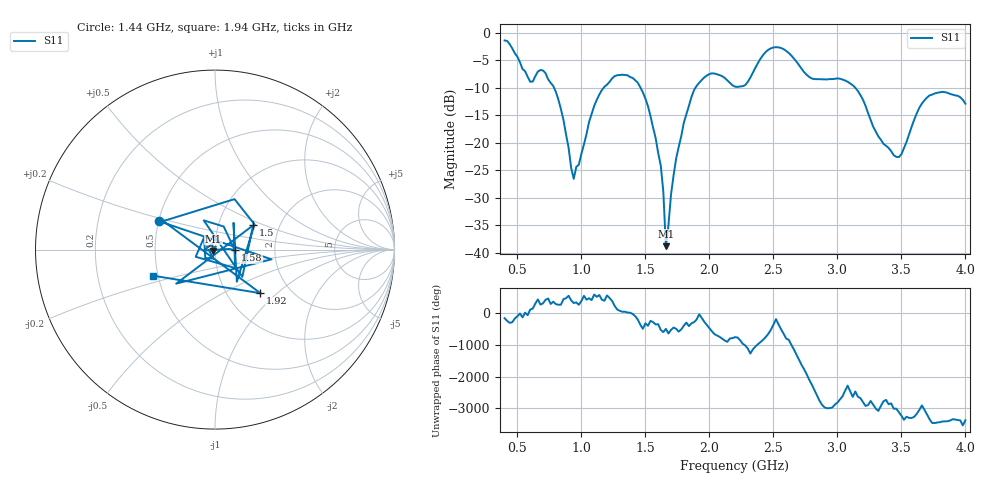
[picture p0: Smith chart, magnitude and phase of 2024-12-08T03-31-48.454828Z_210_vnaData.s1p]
!Created with skrf (http://scikit-rf.org).
# Hz S RI R 50.0
!freq ReS11 ImS11
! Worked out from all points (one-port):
!   181 points, 400 MHz to 4 GHz, reference 50 ohm
!   lowest |S11| = -38.8 dB at 1.66 GHz (marker M1), VSWR 1.02, Z = 49.1 - j0.686 ohm
!   |S11| at or under -10 dB: 786.5 MHz to 1.174 GHz (387.3 MHz wide, 39.5 % of centre); 1.462 GHz to 1.891 GHz (428.8 MHz wide, 25.6 % of centre); 3.14 GHz to end of sweep
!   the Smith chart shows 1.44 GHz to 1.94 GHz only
!   S11 on the Smith chart (normalised r, x): 1.44 GHz: 0.50, +0.18; 1.5 GHz: 1.47, +0.42; 1.58 GHz: 1.25, -0.01; 1.92 GHz: 1.42, -0.79; 1.94 GHz: 0.47, -0.16
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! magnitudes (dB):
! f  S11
! 400 MHz  -1.4
! 600 MHz  -8.9
! 720 MHz  -7.3
! 860 MHz  -15.9
! 940 MHz  -26.6
! 1.12 GHz  -12.2
! 1.3 GHz  -7.7
! 1.44 GHz  -9.1
! 1.5 GHz  -12.0
! 1.58 GHz  -19.1
! 1.64 GHz  -28.9
! 1.66 GHz  -38.8
! 1.7 GHz  -29.4
! 1.76 GHz  -20.8
! 1.86 GHz  -11.7
! 1.92 GHz  -9.1
! 1.94 GHz  -8.6
! 2.2 GHz  -9.8
! 2.28 GHz  -9.5
! 2.48 GHz  -2.8
! 2.66 GHz  -4.7
! 2.8 GHz  -8.3
! 3.1 GHz  -9.2
! 3.44 GHz  -22.3
! 3.5 GHz  -22.1
! 3.56 GHz  -18.4
! 3.72 GHz  -11.4
! 4 GHz  -12.9
